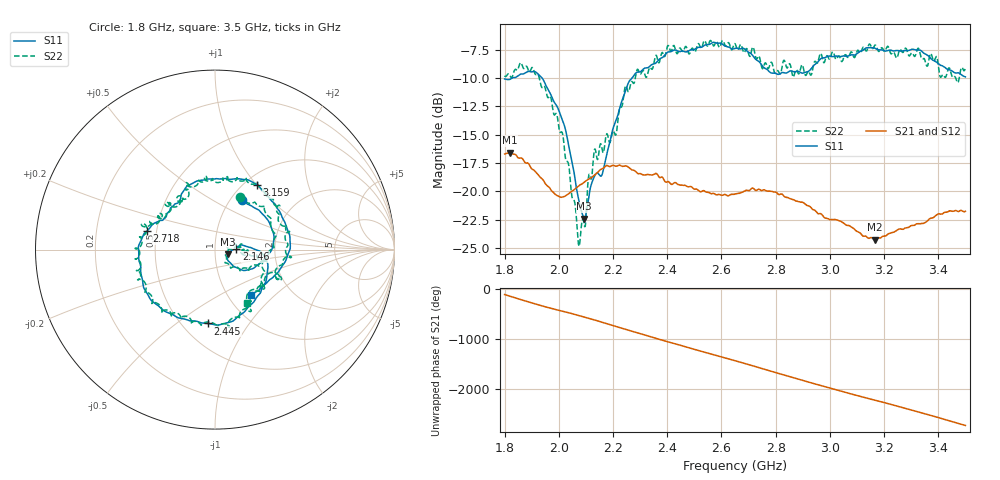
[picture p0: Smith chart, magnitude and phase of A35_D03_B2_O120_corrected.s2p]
! Created with skrf 1.9.0 (http://scikit-rf.org).
# Hz S RI R 50.0
!freq ReS11 ImS11 ReS21 ImS21 ReS12 ImS12 ReS22 ImS22
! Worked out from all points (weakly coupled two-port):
!   1601 points, 1.8 GHz to 3.5 GHz, reference 50 ohm
!   highest |S21| = -16.57 dB at 1.818 GHz (marker M1); lowest = -24.2 dB at 3.165 GHz (marker M2)
!   lowest |S11| = -22.4 dB at 2.093 GHz (marker M3), VSWR 1.16, Z = 57.6 - j2.94 ohm
!   |S11| at or under -10 dB: start of sweep to 1.828 GHz; 1.938 GHz to 2.27 GHz (332.2 MHz wide, 15.8 % of centre)
!   |S22| runs from -24.8 to -6.7 dB; largest |S21 - S12| = 0.0026
!   S11 on the Smith chart (normalised r, x): 1.8 GHz: 1.13, +0.69; 2.146 GHz: 1.27, +0.01; 2.445 GHz: 0.66, -0.66; 2.718 GHz: 0.44, +0.11; 3.159 GHz: 1.14, +1.01; 3.5 GHz: 1.27, -0.71
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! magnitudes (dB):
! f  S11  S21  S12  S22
! 1.8 GHz  -10.1  -16.7  -16.7  -9.8
! 1.818 GHz  -10.1  -16.6  -16.6  -9.7
! 1.903 GHz  -9.4  -18.1  -18.0  -9.1
! 1.968 GHz  -11.3  -19.8  -19.8  -11.6
! 2.023 GHz  -14.4  -20.4  -20.4  -16.8
! 2.072 GHz  -20.6  -19.5  -19.6  -24.6
! 2.084 GHz  -21.7  -19.4  -19.3  -22.9
! 2.093 GHz  -22.4  -19.2  -19.2  -22.8
! 2.112 GHz  -20.2  -18.9  -18.9  -18.5
! 2.146 GHz  -18.5  -18.3  -18.2  -16.8
! 2.209 GHz  -13.8  -17.8  -17.7  -15.0
! 2.258 GHz  -10.4  -17.9  -17.9  -11.2
! 2.367 GHz  -8.4  -18.7  -18.6  -8.6
! 2.445 GHz  -7.7  -19.4  -19.4  -7.4
! 2.65 GHz  -7.4  -20.2  -20.2  -7.0
! 2.718 GHz  -8.1  -19.7  -19.7  -7.3
! 2.802 GHz  -9.6  -20.1  -20.1  -9.5
! 2.934 GHz  -9.1  -21.5  -21.5  -9.6
! 3.159 GHz  -7.3  -24.2  -24.1  -7.4
! 3.165 GHz  -7.4  -24.2  -24.2  -7.1
! 3.217 GHz  -7.6  -23.7  -23.7  -7.4
! 3.5 GHz  -9.9  -21.7  -21.7  -9.1
